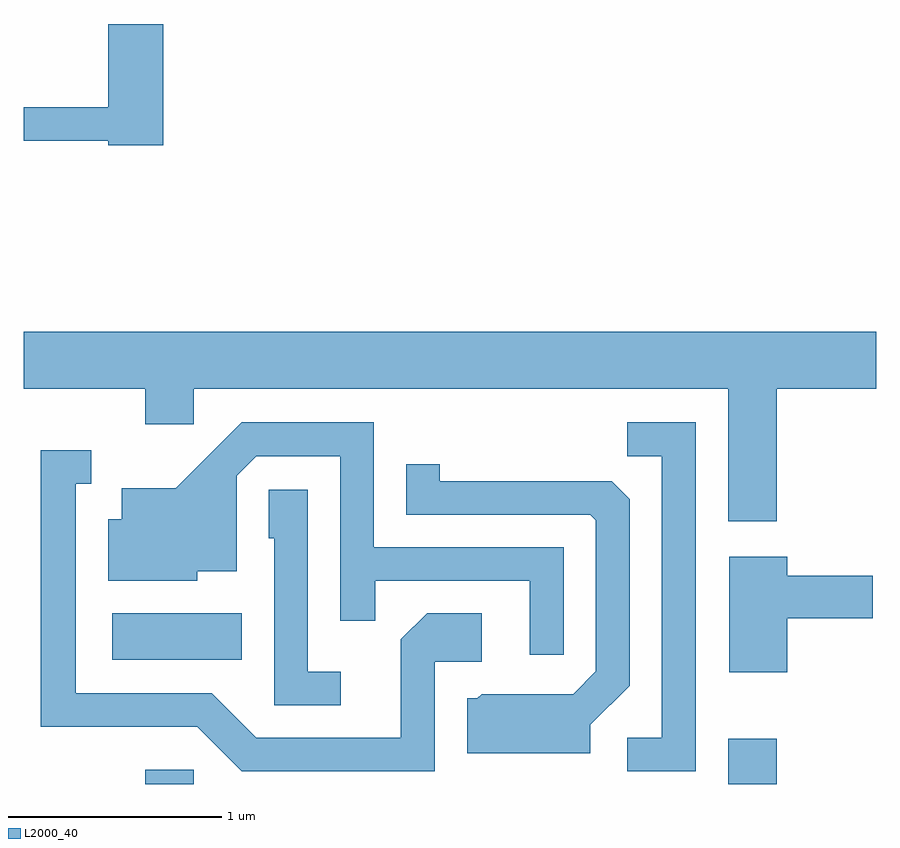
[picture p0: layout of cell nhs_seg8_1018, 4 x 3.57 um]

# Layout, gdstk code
import gdstk
lib = gdstk.Library(unit=1e-6, precision=1e-09)
def R(c, l, rs):  # rectangles x0, y0, x1, y1
    for r in rs: c.add(gdstk.rectangle(r[:2], r[2:], *l))
def P(c, l, *ps):  # polygons
    for p in ps: c.add(gdstk.Polygon(p, *l))
L2000_40 = (2000, 40)

nhs_seg8_1018 = lib.new_cell('nhs_seg8_1018')
R(nhs_seg8_1018, L2000_40, [(216.181,1832.342,216.409,1832.409), (218.916,1832.342,219.144,1832.554), (216.026,1832.926,216.634,1833.144)])
P(nhs_seg8_1018, L2000_40, [(216.264,1835.909),(216.006,1835.909),(216.006,1835.519),(215.611,1835.519),(215.611,1835.361),(216.006,1835.361),(216.006,1835.341),(216.264,1835.341)],
  [(219.144,1834.196),(219.611,1834.196),(219.611,1834.464),(215.611,1834.464),(215.611,1834.196),(216.181,1834.196),(216.181,1834.031),(216.409,1834.031),(216.409,1834.196),(218.916,1834.196),(218.916,1833.576),(219.144,1833.576)],
  [(218.764,1834.039),(218.443,1834.039),(218.443,1833.881),(218.606,1833.881),(218.606,1832.559),(218.443,1832.559),(218.443,1832.401),(218.764,1832.401)],
  [(218.144,1833.454),(217.254,1833.454),(217.254,1834.039),(216.634,1834.039),(216.324,1833.729),(216.071,1833.729),(216.071,1833.584),(216.006,1833.584),(216.006,1833.296),(216.424,1833.296),(216.424,1833.341),(216.609,1833.341),(216.609,1833.789),(216.702,1833.881),(217.096,1833.881),(217.096,1833.108),(217.259,1833.108),(217.259,1833.296),(217.986,1833.296),(217.986,1832.948),(218.144,1832.948)],
  [(217.539,1832.916),(217.759,1832.916),(217.759,1833.144),(217.504,1833.144),(217.381,1833.022),(217.381,1832.559),(216.702,1832.559),(216.492,1832.769),(215.854,1832.769),(215.854,1833.751),(215.928,1833.751),(215.928,1833.909),(215.691,1833.909),(215.691,1832.611),(216.424,1832.611),(216.634,1832.401),(217.539,1832.401)],
  [(218.269,1832.619),(218.454,1832.804),(218.454,1833.679),(218.369,1833.764),(217.564,1833.764),(217.564,1833.843),(217.406,1833.843),(217.406,1833.606),(218.269,1833.606),(218.296,1833.579),(218.296,1832.872),(218.189,1832.764),(217.759,1832.764),(217.739,1832.744),(217.691,1832.744),(217.691,1832.486),(218.269,1832.486)],
  [(217.098,1832.869),(216.944,1832.869),(216.944,1833.724),(216.761,1833.724),(216.761,1833.496),(216.786,1833.496),(216.786,1832.711),(217.098,1832.711)],
  [(219.194,1833.121),(219.594,1833.121),(219.594,1833.319),(219.194,1833.319),(219.194,1833.409),(218.921,1833.409),(218.921,1832.866),(219.194,1832.866)])

lib.write_gds('nhs_seg8_1018.gds')
